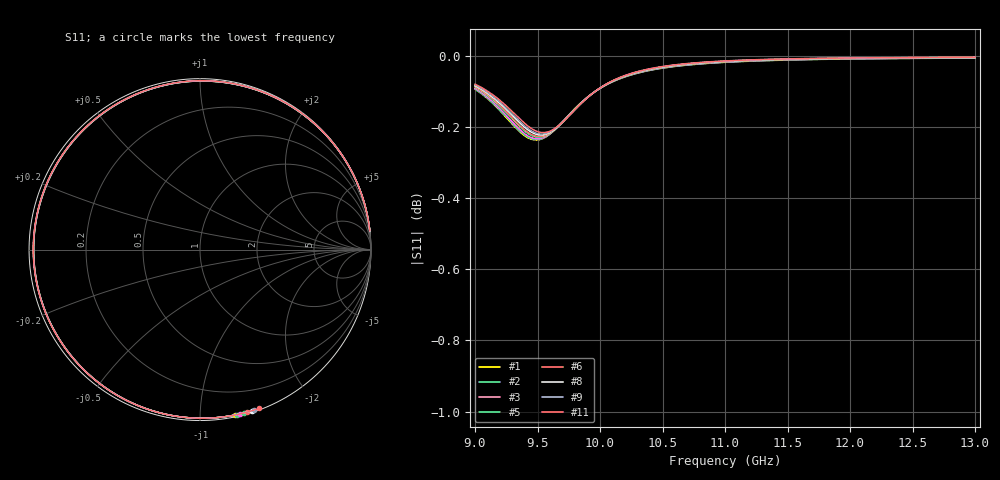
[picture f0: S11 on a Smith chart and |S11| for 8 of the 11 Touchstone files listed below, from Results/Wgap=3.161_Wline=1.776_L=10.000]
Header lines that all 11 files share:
! TOUCHSTONE file generated by CST DESIGN STUDIO
! Project name: C:\Work\MatlabApps\UnitCellOptimizationMatlab\CST\unitcell.cst
! Tree item: Tasks\Sweep1\SPara1\S-Parameters
! Header version: 2024
! Port assignment regex: !\s*Touchstone port\s*([0-9]+)\s*=\s*(CST MWS port|CST DES external port|CST DES block port)\s*(.+)\s* \(\"(.*)\"\)(\s*mode\s*([0-9]+))?.*
! Touchstone port assignment:
! Touchstone port 1 = CST DES external port 1 ("")
# GHz S MA R 50
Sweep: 9 GHz to 13 GHz
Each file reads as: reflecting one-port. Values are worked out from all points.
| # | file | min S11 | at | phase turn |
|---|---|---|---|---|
| 1 | DS_for_MWS-run-0001.s1p | -0.2 dB | 9.489 GHz | -276 deg |
| 2 | DS_for_MWS-run-0002.s1p | -0.2 dB | 9.494 GHz | -277 deg |
| 3 | DS_for_MWS-run-0003.s1p | -0.2 dB | 9.499 GHz | -277 deg |
| 4 | DS_for_MWS-run-0004.s1p | -0.2 dB | 9.504 GHz | -278 deg |
| 5 | DS_for_MWS-run-0005.s1p | -0.2 dB | 9.51 GHz | -279 deg |
| 6 | DS_for_MWS-run-0006.s1p | -0.2 dB | 9.516 GHz | -280 deg |
| 7 | DS_for_MWS-run-0007.s1p | -0.2 dB | 9.522 GHz | -281 deg |
| 8 | DS_for_MWS-run-0008.s1p | -0.2 dB | 9.527 GHz | -282 deg |
| 9 | DS_for_MWS-run-0009.s1p | -0.2 dB | 9.533 GHz | -282 deg |
| 10 | DS_for_MWS-run-0010.s1p | -0.2 dB | 9.539 GHz | -283 deg |
| 11 | DS_for_MWS-run-0011.s1p | -0.2 dB | 9.545 GHz | -284 deg |
